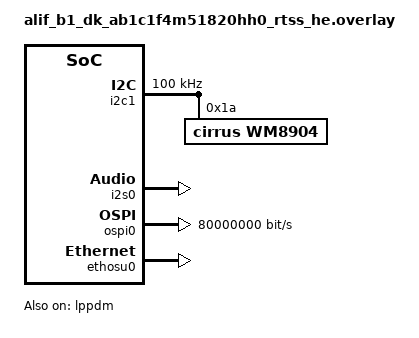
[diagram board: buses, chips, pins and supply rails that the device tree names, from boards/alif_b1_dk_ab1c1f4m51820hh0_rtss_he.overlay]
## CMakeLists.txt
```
# Copyright (C) 2025 Alif Semiconductor - All Rights Reserved.
# Use, distribution and modification of this code is permitted under the
# terms stated in the Alif Semiconductor Software License Agreement
#
# You should have received a copy of the Alif Semiconductor Software
# License Agreement with this file. If not, please write to:
# contact@alifsemi.com, or visit: https://alifsemi.com/license

cmake_minimum_required(VERSION 3.20.0)
find_package(Zephyr REQUIRED HINTS $ENV{ZEPHYR_BASE})
project(le_audio_unicast_sink)

target_sources(app PRIVATE
    src/main.c
    src/unicast_sink.c
    src/audio_datapath.c
    src/storage.c
    src/shell_cmds.c
)
```

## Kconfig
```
# Copyright (C) 2025 Alif Semiconductor - All Rights Reserved.
# Use, distribution and modification of this code is permitted under the
# terms stated in the Alif Semiconductor Software License Agreement
#
# You should have received a copy of the Alif Semiconductor Software
# License Agreement with this file. If not, please write to:
# contact@alifsemi.com, or visit: https://alifsemi.com/license

menu "Alif Bluetooth LE Audio Unicast Sink"

config BLE_DEVICE_NAME
	string "BLE device name"
	default "ALIF_CIS_SINK_L" if UNICAST_LOCATION_LEFT
	default "ALIF_CIS_SINK_R" if UNICAST_LOCATION_RIGHT
	default "ALIF_CIS_SINK" if UNICAST_LOCATION_BOTH
	help
	  Device name to be included in advertising packets

config MAXIMUM_PRESENTATION_DELAY_US
	int "Maximum available presentation delay in microseconds"
	range 40000 100000
	default 40000
	help
	  Maximum presentation delay must be at least 40ms.
	  There is no actual maximum value but 100ms is
	  used to set something which is long enough.
	  See LE Audio specification for more information.

config MINIMUM_PRESENTATION_DELAY_US
	int "Minimum available presentation delay in microseconds"
	range 1000 20000
	default 7500
	help
	  Minimum presentation delay to compensate for
	  the audio processing delay.

config USE_DIRECT_ADVERTISING_WHEN_RESTART
	bool "Use direct advertising when connection is lost or peer is bonded"
	default y

config USE_DIRECTED_FAST_ADVERTISING
	bool "Directed high duty cycle advertising"
	default n
	help
	  Use directed high duty cycle advertising when
	  connection is lost or peer is bonded

config BONDING_ALLOWED
	bool "Allow bonding"
	default y
	
config PRIVACY_ENABLED
	bool "Enable Privacy to use Random Private Resolvable Address"
	default n

choice
	prompt "Choose streaming type"
	default UNICAST_UNIDIR

	config UNICAST_BIDIR
	bool "Bidirectional"
	config UNICAST_UNIDIR
	bool "Unidirectional"
endchoice

choice
	prompt "Choose location"
	default UNICAST_LOCATION_BOTH if UNICAST_UNIDIR
	default UNICAST_LOCATION_LEFT if UNICAST_BIDIR

	config UNICAST_LOCATION_LEFT
	bool "Left"
	config UNICAST_LOCATION_RIGHT
	bool "Right"
	config UNICAST_LOCATION_BOTH
	bool "Both"
endchoice

config VOLUME_CTRL_STEP_SIZE
	int "Volume control step size"
	range 1 255
	default 6
	help
	  Volume control step size

menu "Logging"

module = MAIN
module-str = main
source "subsys/logging/Kconfig.template.log_config"

module = UNICAST_SINK
module-str = unicast_sink
source "subsys/logging/Kconfig.template.log_config"

module = STORAGE
module-str = storage
source "subsys/logging/Kconfig.template.log_config"

endmenu # "Logging"

endmenu # "Alif Bluetooth LE Audio Unicast Sink"

source "Kconfig.zephyr"
```

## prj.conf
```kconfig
# Copyright (C) 2025 Alif Semiconductor - All Rights Reserved.
# Use, distribution and modification of this code is permitted under the
# terms stated in the Alif Semiconductor Software License Agreement
#
# You should have received a copy of the Alif Semiconductor Software
# License Agreement with this file. If not, please write to:
# contact@alifsemi.com, or visit: https://alifsemi.com/license

CONFIG_BT=y
CONFIG_BT_CUSTOM=y
CONFIG_ALIF_ROM_LC3_CODEC=y
CONFIG_ALIF_BLE_AUDIO=y

CONFIG_LOG=y
# CONFIG_LOG_MODE_IMMEDIATE=y
CONFIG_ASSERT=y

CONFIG_PRESENTATION_COMPENSATION_DIRECTION_SINK=y
CONFIG_PRESENTATION_COMPENSATION_CORRECTION_FACTOR=2
CONFIG_MINIMUM_PRESENTATION_DELAY_US=1000

# Should be replaced by TRNG when support is available
CONFIG_ENTROPY_GENERATOR=y
CONFIG_TEST_RANDOM_GENERATOR=y

# malloc support is required, simplest way is using newlib although it would also be possible to
# configure heap for picolibc
CONFIG_NEWLIB_LIBC=y

# Driver support for audio
CONFIG_I2S=y
CONFIG_DMA=y

# Audio driver support specific to B1 DK board.
# Audio codec is WM8904, connected via I2C.
CONFIG_I2C=y
CONFIG_WM8904=y
CONFIG_AUDIO=y
CONFIG_AUDIO_CODEC=y
CONFIG_I2C_INIT_PRIORITY=50
CONFIG_WM8904_INIT_PRIORITY=53

# This is specific to whichever clock you use. Currently presentation layer is
# commented out so this does nothing
CONFIG_AUDIO_CLOCK_DIVIDER=1

# Debug
CONFIG_USE_SEGGER_RTT=y
CONFIG_RTT_CONSOLE=y

CONFIG_MAIN_STACK_SIZE=4096
CONFIG_ISR_STACK_SIZE=4096
CONFIG_PRIVILEGED_STACK_SIZE=2048
CONFIG_IDLE_STACK_SIZE=1024
CONFIG_BOOT_BANNER=n
CONFIG_ALIF_BLE_HOST_ADDL_PRF_HEAPSIZE=10240
CONFIG_ALIF_BLE_HOST_ADDL_ENV_HEAPSIZE=8192

# Enable NVS as the backend for Settings
CONFIG_NVS=y
# Enable the Settings subsystem
CONFIG_SETTINGS=y
CONFIG_SETTINGS_NVS=y
CONFIG_SETTINGS_RUNTIME=y
CONFIG_MPU_ALLOW_FLASH_WRITE=y
CONFIG_FLASH=y
CONFIG_FLASH_MAP=y

# For MRAM(XIP) builds with LLVM exception tables cause linker errors as part of the code is placed to TCM
CONFIG_CPP_EXCEPTIONS=n


CONFIG_SHELL=y
```

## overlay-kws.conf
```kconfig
CONFIG_CPP=y
CONFIG_STD_CPP17=y
CONFIG_TENSORFLOW_LITE_MICRO=y
CONFIG_ARM_ETHOS_U=y
CONFIG_HEAP_MEM_POOL_SIZE=16384
CONFIG_LOG=y
CONFIG_LOG_MODE_IMMEDIATE=y
CONFIG_BUILD_NO_GAP_FILL=y
CONFIG_REQUIRES_FULL_LIBC=y
CONFIG_NEWLIB_LIBC=y
CONFIG_REQUIRES_FULL_LIBCPP=y
CONFIG_NEWLIB_LIBC_MIN_REQUIRED_HEAP_SIZE=8192

CONFIG_CMSIS_DSP=y
CONFIG_CMSIS_DSP_TRANSFORM=y
CONFIG_CMSIS_DSP_FASTMATH=y
CONFIG_CMSIS_DSP_COMPLEXMATH=y

CONFIG_MAIN_STACK_SIZE=4096
CONFIG_MAIN_THREAD_PRIORITY=3

CONFIG_CONSOLE_SUBSYS=y
CONFIG_CONSOLE_GETLINE=y

CONFIG_CBPRINTF_FP_SUPPORT=y

CONFIG_I2S=y

CONFIG_AUDIO=y
CONFIG_AUDIO_DMIC=y
```

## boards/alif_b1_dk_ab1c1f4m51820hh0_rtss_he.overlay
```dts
/* Copyright (C) 2025 Alif Semiconductor - All Rights Reserved.
 * Use, distribution and modification of this code is permitted under the
 * terms stated in the Alif Semiconductor Software License Agreement
 *
 * You should have received a copy of the Alif Semiconductor Software
 * License Agreement with this file. If not, please write to:
 * contact@alifsemi.com, or visit: https://alifsemi.com/license
 *
 */

#include <dt-bindings/pinctrl/balletto-pinctrl.h>
#include <dt-bindings/i2c/i2c.h>
#include <dt-bindings/gpio/gpio.h>

#define I2S0_IRQ_NUM  141
#define I2S0_IRQ_PRIO 3

#define LPI2S_IRQ_NUM  48
#define LPI2S_IRQ_PRIO 3

/ {
	aliases {
		/delete-property/ sw0;

		audio-codec = &wm8904;
		i2s-bus = &i2s0;
		/*i2s-mic = &i2s2;*/
		pdm-audio = &lppdm;
	};

	/delete-node/ buttons;
};

&dma2 {
	status = "okay";
};

&i2c1 {
	clock-frequency = <I2C_BITRATE_STANDARD>;
	status = "okay";

	wm8904: wm8904@1a {
		compatible = "cirrus,wm8904";
		reg = <0x1a>;
		status = "okay";
	};
};

/* Sink (output) to WM8904 codec IC */
&i2s0 {
	/delete-property/ clock-frequency;
	/delete-property/ driver-instance;
	compatible = "alif,i2s-sync";
	interrupts = <I2S0_IRQ_NUM I2S0_IRQ_PRIO>;
	bit-depth = <16>;
	sample-rate = <48000>;
	status = "okay";
};

/* Source (input) use onboard I2S microphones (T5848)
 *
 * Balletto A5 DevKit does not have I2S mics anymore.
 * TODO: Need to be replaced by the PDM mics.
 */

&pinctrl_i2c1 {
	group0 {
		pinmux = <PIN_P7_2__I2C1_SDA_C>,
			 <PIN_P7_3__I2C1_SCL_C>;
	};
};

&pinctrl_i2s0 {
	group0 {
		pinmux = <PIN_P2_4__I2S0_SDI_B>,
			 <PIN_P2_5__I2S0_SDO_B>,
			 <PIN_P1_7__I2S0_WS_A>,
			 <PIN_P1_6__I2S0_SCLK_A>;
	};
};

/* Disable unnecessary nodes */
&uart_ahi {
	status = "disabled";
};

&i2s1 {
	status = "disabled";
};

&lppdm {
	status = "okay";
};

&ospi0 {
	bus-speed = <80000000>;
	status = "okay";
};

/ {
	/* Compile-time assertion: ethosu0 must exist */
	ethosu_u55_check {
		compatible = "vnd,ethosu-u55-check";
		ethosu-node = <&ethosu0>;
	};
};

&ethosu0 {
	status = "okay";
};
```

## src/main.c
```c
/* Copyright (C) 2025 Alif Semiconductor - All Rights Reserved.
 * Use, distribution and modification of this code is permitted under the
 * terms stated in the Alif Semiconductor Software License Agreement
 *
 * You should have received a copy of the Alif Semiconductor Software
 * License Agreement with this file. If not, please write to:
 * contact@alifsemi.com, or visit: https://alifsemi.com/license
 */
#include <stdio.h>
#include <zephyr/kernel.h>
#include <zephyr/logging/log.h>
#include <zephyr/settings/settings.h>
#include <zephyr/sys/__assert.h>

#include <se_service.h>
#include <soc_common.h>

#include "alif_ble.h"
#include "gapm.h"
#include "gapm_le.h"
#include "gapc.h"
#include "gapc_le.h"
#include "gapc_sec.h"

#include "unicast_sink.h"
#include "storage.h"

#define APPEARANCE_EARBUDS 0x0941
#define APPEARANCE_HEADSET 0x0942

#if CONFIG_UNICAST_BIDIR
#define APPEARANCE APPEARANCE_HEADSET
#else
#define APPEARANCE APPEARANCE_EARBUDS
#endif

#if CONFIG_UNICAST_LOCATION_BOTH
#define IRK_VAL 0x8B
#elif CONFIG_UNICAST_LOCATION_LEFT
#define IRK_VAL 0x8A
#elif CONFIG_UNICAST_LOCATION_RIGHT
#define IRK_VAL 0x89
#else
#define IRK_VAL 0x88
#endif

LOG_MODULE_REGISTER(main, CONFIG_MAIN_LOG_LEVEL);

K_SEM_DEFINE(gapm_init_sem, 0, 1);

struct connection_status {
#if CONFIG_USE_DIRECT_ADVERTISING_WHEN_RESTART
	gap_bdaddr_t addr; /*!< Peer device address */
#endif
	uint8_t conidx; /*!< connection index */
};

static struct connection_status app_con_info = {
	.conidx = GAP_INVALID_CONIDX,
#if CONFIG_USE_DIRECT_ADVERTISING_WHEN_RESTART
	.addr.addr_type = 0xff,
#endif
};

#if CONFIG_USE_DIRECT_ADVERTISING_WHEN_RESTART
#define APP_CON_ADDR &app_con_info.addr
#else
#define APP_CON_ADDR NULL
#endif

struct app_con_bond_data {
	gapc_pairing_keys_t keys;
	gapc_bond_data_t bond_data;
};

static struct app_con_bond_data app_con_bond_data;

/* Load names from configuration file */
const char device_name[] = CONFIG_BLE_DEVICE_NAME;

static const gap_sec_key_t gapm_irk = {.key = {0xA1, 0xB2, 0xC3, 0xD4, 0xE5, 0xF6, 0x07, 0x08, 0x11,
					       0x22, 0x33, 0x44, 0x55, 0x66, 0x77, IRK_VAL}};

/* ---------------------------------------------------------------------------------------- */
/* Settings NVM storage handlers */

static int storage_load_bond_data(void)
{
	if (storage_init() < 0) {
		return -1;
	}

	storage_load(SETTINGS_NAME_KEYS, &app_con_bond_data.keys, sizeof(app_con_bond_data.keys));
	storage_load(SETTINGS_NAME_BOND_DATA, &app_con_bond_data.bond_data,
		     sizeof(app_con_bond_data.bond_data));
#if CONFIG_USE_DIRECT_ADVERTISING_WHEN_RESTART
	storage_load(SETTINGS_NAME_PEER, &app_con_info.addr, sizeof(app_con_info.addr));
#endif

	LOG_DBG("Settings loaded successfully");
	return 0;
}

/* ---------------------------------------------------------------------------------------- */
/* Bluetooth GAPM callbacks */

static void on_get_peer_version_cmp_cb(uint8_t const conidx, uint32_t const metainfo,
				       uint16_t const status, const gapc_version_t *const p_version)
{
	if (status != GAP_ERR_NO_ERROR) {
		LOG_ERR("Client %u Peer version fetch failed! err:%u", conidx, status);
		return;
	}
	LOG_INF("Client %u company_id:%u, lmp_subversion:%u, lmp_version:%u", conidx,
		p_version->company_id, p_version->lmp_subversion, p_version->lmp_version);
}

static void on_peer_features_cmp_cb(uint8_t const conidx, uint32_t const metainfo, uint16_t status,
				    const uint8_t *const p_features)
{
	if (status == GAP_ERR_NO_ERROR) {
		LOG_INF("Client %u features: %02X:%02X:%02X:%02X:%02X:%02X:%02X:%02X", conidx,
			p_features[0], p_features[1], p_features[2], p_features[3], p_features[4],
			p_features[5], p_features[6], p_features[7]);
	} else {
		LOG_ERR("Client %u get peer features failed! status:%u", conidx, status);
	}

	status = gapc_get_peer_version(conidx, 0, on_get_peer_version_cmp_cb);
	if (status != GAP_ERR_NO_ERROR) {
		LOG_ERR("Client %u unable to get peer version! err:%u", conidx, status);
	}
}

static void connection_confirm_not_bonded(uint_fast8_t const conidx,
					  gapc_bond_data_t const *const p_bond_data)
{
	uint_fast16_t status;

	status = gapc_le_connection_cfm(conidx, 0, p_bond_data);
	if (status != GAP_ERR_NO_ERROR) {
		LOG_ERR("Client %u connection confirmation failed! err:%u", conidx, status);
	}
	status = gapc_le_get_peer_features(conidx, 0, on_peer_features_cmp_cb);
	if (status != GAP_ERR_NO_ERROR) {
		LOG_ERR("Client %u Unable to get peer features! err:%u", conidx, status);
	}
}

static void on_address_resolved_cb(uint16_t status, const gap_addr_t *const p_addr,
				   const gap_sec_key_t *const pirk)
{
	uint_fast8_t const conidx = app_con_info.conidx;
	/* Check whether the peer device is bonded */
	bool const resolved = (status == GAP_ERR_NO_ERROR);

	LOG_INF("Client %u address resolve ready! status:%u, %s peer device", conidx, status,
		resolved ? "KNOWN" : "UNKNOWN");

#if CONFIG_USE_DIRECT_ADVERTISING_WHEN_RESTART
	app_con_info.addr.addr_type = GAP_ADDR_RAND;
	memcpy(app_con_info.addr.addr, p_addr->addr, sizeof(app_con_info.addr.addr));
#endif

	if (resolved) {
		gapc_le_connection_cfm(conidx, 0, &app_con_bond_data.bond_data);
		return;
	}
	connection_confirm_not_bonded(conidx, NULL);
}

static void on_le_connection_req(uint8_t const conidx, uint32_t const metainfo,
				 uint8_t const actv_idx, uint8_t const role,
				 const gap_bdaddr_t *const p_peer_addr,
				 const gapc_le_con_param_t *const p_con_params,
				 uint8_t const clk_accuracy)
{
	uint16_t err;
	bool const public = (p_peer_addr->addr_type == GAP_ADDR_PUBLIC);

	app_con_info.conidx = conidx;
#if CONFIG_USE_DIRECT_ADVERTISING_WHEN_RESTART
	memcpy(&app_con_info.addr, p_peer_addr, sizeof(app_con_info.addr));
#endif

	if (!public) {
		/* Number of IRKs */
		uint8_t const nb_irk = 1;
		/* Resolve Address */
		uint16_t const status = gapm_le_resolve_address(
			(gap_addr_t *)p_peer_addr->addr, nb_irk, &app_con_bond_data.keys.irk.key,
			on_address_resolved_cb);

		if (status == GAP_ERR_INVALID_PARAM) {
			/* Address not resolvable, just confirm the connection */
			connection_confirm_not_bonded(conidx, NULL);
		} else if (status != GAP_ERR_NO_ERROR) {
			LOG_ERR("Client %u Unable to start resolve address! err:%u", conidx,
				status);
		}
	} else {
		gapc_le_connection_cfm(conidx, 0, &app_con_bond_data.bond_data);
	}

	LOG_INF("Connection request. conidx:%u (actv_idx:%u), role %s", conidx, actv_idx,
		role ? "PERIPH" : "CENTRAL");

	LOG_DBG("  interval %fms, latency %u, supervision timeout %ums, clk_accuracy:%u",
		(p_con_params->interval * 1.25), p_con_params->latency,
		(uint32_t)p_con_params->sup_to * 10, clk_accuracy);

	LOG_DBG("  Peer address: %s %02X:%02X:%02X:%02X:%02X:%02X", public ? "Public" : "Private",
		p_peer_addr->addr[5], p_peer_addr->addr[4], p_peer_addr->addr[3],
		p_peer_addr->addr[2], p_peer_addr->addr[1], p_peer_addr->addr[0]);
}

static const struct gapc_connection_req_cb gapc_con_cbs = {
	.le_connection_req = on_le_connection_req,
};

static void on_gapc_le_encrypt_req(uint8_t const conidx, uint32_t const metainfo,
				   uint16_t const ediv, const gap_le_random_nb_t *const p_rand)
{
	uint16_t const status = gapc_le_encrypt_req_reply(
		conidx, true, &app_con_bond_data.keys.ltk.key, app_con_bond_data.keys.ltk.key_size);

	if (status != GAP_ERR_NO_ERROR) {
		LOG_ERR("Client %u LE encryption reply failed! err:%u", conidx, status);
		return;
	}
}

static void on_gapc_sec_auth_info(uint8_t const conidx, uint32_t const metainfo,
				  uint8_t const sec_lvl, bool const encrypted,
				  uint8_t const key_size)
{
	LOG_INF("Client %u Link security info. level:%u, encrypted:%s, key_size:%u", conidx,
		sec_lvl, (encrypted ? "TRUE" : "FALSE"), key_size);
}

static void on_gapc_pairing_succeed(uint8_t const conidx, uint32_t const metainfo,
				    uint8_t const pairing_level, bool const enc_key_present,
				    uint8_t const key_type)
{
	bool const bonded = gapc_is_bonded(conidx);

	LOG_INF("Client %u pairing SUCCEED. pairing_level:%u, bonded:%s", conidx, pairing_level,
		bonded ? "TRUE" : "FALSE");

	app_con_bond_data.bond_data.pairing_lvl = pairing_level;
	app_con_bond_data.bond_data.enc_key_present = enc_key_present;

	storage_save(SETTINGS_NAME_BOND_DATA, &app_con_bond_data.bond_data,
		     sizeof(app_con_bond_data.bond_data));
#if CONFIG_USE_DIRECT_ADVERTISING_WHEN_RESTART
	storage_save(SETTINGS_NAME_PEER, &app_con_info.addr, sizeof(app_con_info.addr));
#endif
	//uint16_t err = acc_mcc_discover(conidx, 1, GATT_INVALID_HDL, GATT_INVALID_HDL);
	//LOG_INF("acc_mcc_discover returned %d", err);
}

static void on_gapc_pairing_failed(uint8_t const conidx, uint32_t const metainfo,
				   uint16_t const reason)
{
	LOG_ERR("Client %u pairing failed, reason: 0x%04X", conidx, reason);
	app_con_info.conidx = GAP_INVALID_CONIDX;
}

static void on_gapc_info_req(uint8_t const conidx, uint32_t const metainfo, uint8_t const exp_info)
{
	uint16_t err;

	switch (exp_info) {
	case GAPC_INFO_IRK: {
		/* IRK exchange if bonding enabled */
		err = gapc_le_pairing_provide_irk(conidx, &gapm_irk);
		if (err) {
			LOG_ERR("Client %u IRK provide failed. err: %u", conidx, err);
			break;
		}
		LOG_INF("Client %u IRK sent successful", conidx);
		break;
	}
	case GAPC_INFO_CSRK: {
		/* CSRK exchange if bonding enabled */
		err = gapc_pairing_provide_csrk(conidx, &app_con_bond_data.bond_data.local_csrk);
		if (err) {
			LOG_ERR("Client %u CSRK provide failed. err: %u", conidx, err);
			break;
		}
		LOG_INF("Client %u CSRK sent successful", conidx);
		break;
	}
	case GAPC_INFO_BT_PASSKEY:
	case GAPC_INFO_PASSKEY_DISPLAYED: {
		err = gapc_pairing_provide_passkey(conidx, true, 123456);
		if (err) {
			LOG_ERR("Client %u PASSKEY provide failed. err: %u", conidx, err);
			break;
		}
		LOG_INF("Client %u PASSKEY 123456 provided", conidx);
		break;
	}
	default:
		LOG_WRN("Client %u Unsupported info %u requested!", conidx, exp_info);
		break;
	}
}

static void on_gapc_pairing_req(uint8_t const conidx, uint32_t const metainfo,
				uint8_t const auth_level)
{
	LOG_DBG("Client %u pairing requested. auth_level:%u", conidx, auth_level);

	gapc_pairing_t pairing_info = {
		.auth = GAP_AUTH_NONE,
		.iocap = GAP_IO_CAP_DISPLAY_ONLY,
		.ikey_dist = GAP_KDIST_ENCKEY | GAP_KDIST_IDKEY,
		.key_size = GAP_KEY_LEN,
		.oob = GAP_OOB_AUTH_DATA_NOT_PRESENT,
		.rkey_dist = GAP_KDIST_ENCKEY | GAP_KDIST_IDKEY,
	};

	if (auth_level & GAP_AUTH_SEC_CON) {
		pairing_info.auth = GAP_AUTH_NONE;
	}

	uint16_t const status = gapc_le_pairing_accept(conidx, true, &pairing_info, 0);

	if (status != GAP_ERR_NO_ERROR) {
		LOG_ERR("Pairing accept failed! error: %u", status);
	}
}

static void on_gapc_sec_numeric_compare_req(uint8_t const conidx, uint32_t const metainfo,
					    uint32_t const value)
{
	LOG_DBG("Client %u pairing - numeric compare. value:%u", conidx, value);
	gapc_pairing_numeric_compare_rsp(conidx, true);
}

static void on_key_received(uint8_t conidx, uint32_t metainfo, const gapc_pairing_keys_t *p_keys)
{
	LOG_DBG("Client %u keys received: key_bf:%u, level:%u", conidx, p_keys->valid_key_bf,
		p_keys->pairing_lvl);

	gapc_pairing_keys_t *const p_appkeys = &app_con_bond_data.keys;
	uint8_t key_bits = GAP_KDIST_NONE;

	if (p_keys->valid_key_bf & GAP_KDIST_ENCKEY) {
		memcpy(&p_appkeys->ltk, &p_keys->ltk, sizeof(p_appkeys->ltk));
		key_bits |= GAP_KDIST_ENCKEY;
	}

	if (p_keys->valid_key_bf & GAP_KDIST_IDKEY) {
		memcpy(&p_appkeys->irk, &p_keys->irk, sizeof(p_appkeys->irk));
		key_bits |= GAP_KDIST_IDKEY;
	}

	if (p_keys->valid_key_bf & GAP_KDIST_SIGNKEY) {
		memcpy(&p_appkeys->csrk, &p_keys->csrk, sizeof(p_appkeys->csrk));
		key_bits |= GAP_KDIST_SIGNKEY;
	}

	p_appkeys->pairing_lvl = p_keys->pairing_lvl;
	p_appkeys->valid_key_bf = key_bits;

	storage_save(SETTINGS_NAME_KEYS, &app_con_bond_data.keys, sizeof(app_con_bond_data.keys));
}

static const gapc_security_cb_t gapc_sec_cbs = {
	.le_encrypt_req = on_gapc_le_encrypt_req,
	.auth_info = on_gapc_sec_auth_info,
	.pairing_succeed = on_gapc_pairing_succeed,
	.pairing_failed = on_gapc_pairing_failed,
	.info_req = on_gapc_info_req,
	.pairing_req = on_gapc_pairing_req,
	.numeric_compare_req = on_gapc_sec_numeric_compare_req,
	.key_received = on_key_received,
	/* Others are useless for LE peripheral device */
};

static void on_disconnection(uint8_t const conidx, uint32_t const metainfo, uint16_t const reason)
{
	LOG_INF("Client %u disconnected for reason %u", conidx, reason);

	app_con_info.conidx = GAP_INVALID_CONIDX;
	/* Restart advertising... */
	unicast_sink_adv_start(APP_CON_ADDR);
}

static void on_bond_data_updated(uint8_t const conidx, uint32_t const metainfo,
				 const gapc_bond_data_updated_t *const p_data)
{
	LOG_INF("Client %u bond data updated: gatt_start_hdl:%u, gatt_end_hdl:%u, "
		"svc_chg_hdl:%u, cli_info:%u, cli_feat:%u, srv_feat:%u",
		conidx, p_data->gatt_start_hdl, p_data->gatt_end_hdl, p_data->svc_chg_hdl,
		p_data->cli_info, p_data->cli_feat, p_data->srv_feat);	
}

static void on_name_get(uint8_t const conidx, uint32_t const metainfo, uint16_t const token,
			uint16_t const offset, uint16_t const max_len)
{
	const size_t device_name_len = sizeof(device_name) - 1;
	const size_t short_len = (device_name_len > max_len ? max_len : device_name_len);

	gapc_le_get_name_cfm(conidx, token, GAP_ERR_NO_ERROR, device_name_len, short_len,
			     (const uint8_t *)device_name);
}

static void on_appearance_get(uint8_t const conidx, uint32_t const metainfo, uint16_t const token)
{
	gapc_le_get_appearance_cfm(conidx, token, GAP_ERR_NO_ERROR, APPEARANCE);
}

static const gapc_connection_info_cb_t gapc_inf_cbs = {
	.disconnected = on_disconnection,
	.bond_data_updated = on_bond_data_updated,
	.name_get = on_name_get,
	.appearance_get = on_appearance_get,
	/* Other callbacks in this struct are optional */
};

static const gapc_le_config_cb_t gapc_le_cfg_cbs = {0};

static void on_gapm_err(uint32_t metainfo, uint8_t code)
{
	LOG_ERR("GAPM error %d", code);
}

static const gapm_cb_t gapm_err_cbs = {
	.cb_hw_error = on_gapm_err,
};

static const gapm_callbacks_t gapm_cbs = {
	.p_con_req_cbs = &gapc_con_cbs,
	.p_sec_cbs = &gapc_sec_cbs,
	.p_info_cbs = &gapc_inf_cbs,
	.p_le_config_cbs = &gapc_le_cfg_cbs,
	.p_bt_config_cbs = NULL,    /* BT classic so not required */
	.p_gapm_cbs = &gapm_err_cbs,
};

/* ---------------------------------------------------------------------------------------- */
/* BLE config (GAPM) */

static void on_gapm_process_complete(uint32_t const metainfo, uint16_t const status)
{
	if (status != GAP_ERR_NO_ERROR) {
		LOG_ERR("GAPM process completed with error %u", status);
		return;
	}

	switch (metainfo) {
	case 1:
		LOG_DBG("GAPM configured successfully");
		break;
	case 2:
		LOG_DBG("GAPM name set successfully");
		break;
	case 3:
		LOG_DBG("GAPM reset successfully");
		break;
	default:
		LOG_ERR("GAPM Unknown metadata!");
		return;
	}

	k_sem_give(&gapm_init_sem);
}

static gap_addr_t private_address;

static void on_gapm_le_random_addr_cb(uint16_t const status, const gap_addr_t *const p_addr)
{
	if (status != GAP_ERR_NO_ERROR) {
		LOG_ERR("GAPM address generation error %u", status);
		return;
	}

	LOG_DBG("Generated address: %02X:%02X:%02X:%02X:%02X:%02X", p_addr->addr[5],
		p_addr->addr[4], p_addr->addr[3], p_addr->addr[2], p_addr->addr[1],
		p_addr->addr[0]);

	private_address = *p_addr;

	storage_save(SETTINGS_NAME_ADDR, &private_address, sizeof(private_address));

	k_sem_give(&gapm_init_sem);
}

static int ble_stack_configure(uint8_t const role)
{
	/* Bluetooth stack configuration*/
	gapm_config_t gapm_cfg = {
		.role = role,
		.pairing_mode = GAPM_PAIRING_SEC_CON,
		.privacy_cfg = 0,
		.renew_dur = 15 * 60, /* 15 minutes */
		.private_identity.addr = {0},
		.irk = gapm_irk,
		.gap_start_hdl = 0,
		.gatt_start_hdl = 0,
		.att_cfg = 0,
		.sugg_max_tx_octets = GAP_LE_MAX_OCTETS,
		/* Use the minimum transmission time to minimize latency */
		.sugg_max_tx_time = GAP_LE_MIN_TIME,
		.tx_pref_phy = GAP_PHY_LE_2MBPS,
		.rx_pref_phy = GAP_PHY_LE_2MBPS,
		.tx_path_comp = 0,
		.rx_path_comp = 0,
		/* BT classic - not used */
		.class_of_device = 0x200408,
		.dflt_link_policy = 0,
	};

	int err;

	storage_load(SETTINGS_NAME_ADDR, &private_address, sizeof(private_address));

	if (private_address.addr[5] == 0) {
		/* Configure GAPM to prepare address generation */
		err = gapm_configure(1, &gapm_cfg, &gapm_cbs, on_gapm_process_complete);
		if (err != GAP_ERR_NO_ERROR) {
			LOG_ERR("gapm_configure error %u", err);
			return -1;
		}
		if (k_sem_take(&gapm_init_sem, K_MSEC(1000)) != 0) {
			LOG_ERR("  FAIL! GAPM config timeout!");
			return -1;
		}

		/* Generate random static address */
		err = gapm_le_generate_random_addr(GAP_BD_ADDR_STATIC, on_gapm_le_random_addr_cb);
		if (err != GAP_ERR_NO_ERROR) {
			LOG_ERR("gapm_le_generate_random_addr error %u", err);
			return -1;
		}
		if (k_sem_take(&gapm_init_sem, K_MSEC(1000)) != 0) {
			LOG_ERR("  FAIL! GAPM random address timeout!");
			return -1;
		}

		/* Reset GAPM to set address */
		err = gapm_reset(3, on_gapm_process_complete);
		if (err != GAP_ERR_NO_ERROR) {
			LOG_ERR("gapm_reset error %u", err);
			return -1;
		}
		if (k_sem_take(&gapm_init_sem, K_MSEC(1000)) != 0) {
			LOG_ERR("  FAIL! GAPM reset timeout!");
			return -1;
		}
	}

	/* Reconfigure GAPM with generated address */
	gapm_cfg.privacy_cfg = GAPM_PRIV_CFG_PRIV_ADDR_BIT;
#if CONFIG_PRIVACY_ENABLED
	gapm_cfg.privacy_cfg |= GAPM_PRIV_CFG_PRIV_EN_BIT;
#endif
	gapm_cfg.private_identity = private_address;

	err = gapm_configure(1, &gapm_cfg, &gapm_cbs, on_gapm_process_complete);
	if (err != GAP_ERR_NO_ERROR) {
		LOG_ERR("gapm_configure error %u", err);
		return -1;
	}
	if (k_sem_take(&gapm_init_sem, K_MSEC(1000)) != 0) {
		LOG_ERR("  FAIL! GAPM config timeout!");
		return -1;
	}

	LOG_INF("Set name: %s", device_name);
	err = gapm_set_name(2, strlen(device_name), (const uint8_t *)device_name,
			    on_gapm_process_complete);
	if (err != GAP_ERR_NO_ERROR) {
		LOG_ERR("gapm_set_name error %u", err);
		return -1;
	}
	if (k_sem_take(&gapm_init_sem, K_MSEC(1000)) != 0) {
		LOG_ERR("  FAIL! GAPM name set timeout!");
		return -1;
	}

#if CONFIG_BONDING_ALLOWED
	/* Configure security level */
	gapm_le_configure_security_level(GAP_AUTH_NONE);
	LOG_INF("Security enabled for bonding");
#endif

	gapm_le_set_appearance(APPEARANCE);

	gap_bdaddr_t identity;

	gapm_get_identity(&identity);

	if (identity.addr_type == GAP_ADDR_PUBLIC) {
		LOG_DBG("Device address type: Public");
	} else {
		uint32_t const type = identity.addr[5] >> 6;

		switch (type) {
		case 0b00:
			LOG_DBG("Device address type: Random Private Non-Resolvable Address");
			break;
		case 0b01:
			LOG_DBG("Device address type: Random Private Resolvable Address");
			break;
		case 0b11:
			LOG_DBG("Device address type: Random Static Address format");
			break;
		case 0b10:
		default:
			LOG_WRN("Device address type: unknown");
			break;
		}
	}
	LOG_INF("Device address: %02X:%02X:%02X:%02X:%02X:%02X", identity.addr[5], identity.addr[4],
		identity.addr[3], identity.addr[2], identity.addr[1], identity.addr[0]);

	LOG_DBG("BLE init complete!");

	return 0;
}

/* ---------------------------------------------------------------------------------------- */
/* Application entry point */

int main(void)
{
	LOG_INF("Alif Unicast Acceptor app started");

	if (storage_load_bond_data() < 0) {
		return -1;
	}

	int ret = alif_ble_enable(NULL);

	if (ret) {
		LOG_ERR("Failed to enable bluetooth, err %d", ret);
		return ret;
	}

	LOG_DBG("BLE enabled");

	if (0 != ble_stack_configure(GAP_ROLE_LE_PERIPHERAL)) {
		return -1;
	}

	if (0 != unicast_sink_init()) {
		return -1;
	}

	if (0 != unicast_sink_adv_start(APP_CON_ADDR)) {
		return -1;
	}

	while (1) {
		/* Nothing to do here... just sleep to keep app running */
		k_sleep(K_SECONDS(5));
	}

	return 0;
}


static int soc_run_profile(void)
{
#define HOST_SYSTOP_PWR_REQ_LOGIC_ON_MEM_ON 0x20

	const uint32_t host_bsys_pwr_req = sys_read32(HOST_BSYS_PWR_REQ);

	sys_write32(host_bsys_pwr_req | HOST_SYSTOP_PWR_REQ_LOGIC_ON_MEM_ON, HOST_BSYS_PWR_REQ);

	run_profile_t runp = {
		.power_domains = PD_VBAT_AON_MASK | PD_SYST_MASK | PD_SSE700_AON_MASK |
				 PD_DBSS_MASK | PD_SESS_MASK,
		.dcdc_voltage = 825,
		.dcdc_mode = DCDC_MODE_PFM_FORCED,
		.aon_clk_src = CLK_SRC_LFXO,
		.run_clk_src = CLK_SRC_PLL,
		.cpu_clk_freq = CLOCK_FREQUENCY_160MHZ,
		.phy_pwr_gating = LDO_PHY_MASK,
		.ip_clock_gating = LP_PERIPH_MASK,
		.vdd_ioflex_3V3 = IOFLEX_LEVEL_1V8,
		.scaled_clk_freq = SCALED_FREQ_XO_HIGH_DIV_38_4_MHZ,
		.memory_blocks = (MRAM_MASK | (SRAM2_MASK | SRAM3_MASK) |
				  (SERAM_1_MASK | SERAM_2_MASK | SERAM_3_MASK | SERAM_4_MASK) |
				  /* M55-HE ITCM */
				  (SRAM4_1_MASK | SRAM4_2_MASK | SRAM4_3_MASK | SRAM4_4_MASK) |
				  /* M55-HE DTCM */
				  (SRAM5_1_MASK | SRAM5_2_MASK | SRAM5_3_MASK | SRAM5_4_MASK |
				   SRAM5_5_MASK)),
	};

	if (se_service_set_run_cfg(&runp)) {
		LOG_ERR("run profile set failed!");
		return -ENOEXEC;
	}

	sys_write32(host_bsys_pwr_req, HOST_BSYS_PWR_REQ);
	sys_write32(0xFFFFFFFF, 0x1A60900C);

	return 0;
}
SYS_INIT(soc_run_profile, PRE_KERNEL_1, 3);
```

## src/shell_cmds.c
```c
/** @file
 * @brief Bluetooth Audio shell module
 *
 * Provide some Bluetooth Audio shell commands that can be useful to applications.
 *
 * Copyright (c) 2017 Intel Corporation
 * Copyright (c) 2018 Nordic Semiconductor ASA
 * Copyright (c) Alif Semiconductor
 *
 * Alif Semiconductor version uses the Zephyr's bt shell module as a base
 * but adapts it to the Ceva-Waves' BLE stack.
 *
 * SPDX-License-Identifier: Apache-2.0
 */

#include <zephyr/sys/util.h>
#include <zephyr/sys/printk.h>
#include <zephyr/shell/shell.h>
#include <zephyr/shell/shell_uart.h>
#include <stdlib.h>
#include <string.h>
#include <errno.h>
#include <zephyr/logging/log.h>
#include "unicast_sink.h"

//LOG_MODULE_REGISTER(bt_audio_shell, CONFIG_BT_AUDIO_SHELL_LOG_LEVEL);

static int cmd_vol_up(const struct shell *sh, size_t argc, char *argv[])
{
	int err;

	volume_increase(); 
		
    shell_fprintf(sh, SHELL_NORMAL, "Volume up\n");
	return 0;
}

static int cmd_vol_down(const struct shell *sh, size_t argc, char *argv[])
{
	int err;

	volume_decrease(); 
	
    shell_fprintf(sh, SHELL_NORMAL, "Volume down\n");	
	return 0;
}

static int cmd_track_next(const struct shell *sh, size_t argc, char *argv[])
{
	int err;

	next_track();
		
    shell_fprintf(sh, SHELL_NORMAL, "Next track\n");
	return 0;
}

static int cmd_track_prev(const struct shell *sh, size_t argc, char *argv[])
{
	int err;

	prev_track();
	
	shell_fprintf(sh, SHELL_NORMAL, "Prev track\n");
	return 0;
}

static int cmd_start(const struct shell *sh, size_t argc, char *argv[])
{
	int err;

	// TODO
	
	shell_fprintf(sh, SHELL_NORMAL, "Start\n");
	return 0;
}

static int cmd_stop(const struct shell *sh, size_t argc, char *argv[])
{
	int err;

	// TODO
	
    shell_fprintf(sh, SHELL_NORMAL, "Stop\n");
	return 0;
}

static int cmd_default_handler(const struct shell *sh, size_t argc, char **argv)
{
	if (argc == 1) {
		shell_help(sh);
		return SHELL_CMD_HELP_PRINTED;
	}

    shell_fprintf(sh, SHELL_ERROR, "%s unknown parameter: %s", argv[0], argv[1]);
	
	return -EINVAL;
}

#define HELP_NONE "[none]"

SHELL_STATIC_SUBCMD_SET_CREATE(
	bt_audio_cmds, 
	SHELL_CMD_ARG(vol-up, NULL, HELP_NONE, cmd_vol_up, 0, 0),
	SHELL_CMD_ARG(vol-down, NULL, HELP_NONE, cmd_vol_down, 0, 0),
	SHELL_CMD_ARG(track-next, NULL, HELP_NONE, cmd_track_next, 0, 0),
	SHELL_CMD_ARG(track-prev, NULL, HELP_NONE, cmd_track_prev, 0, 0),
	SHELL_CMD_ARG(start, NULL, HELP_NONE, cmd_start, 0, 0),
	SHELL_CMD_ARG(stop, NULL, HELP_NONE, cmd_stop, 0, 0),
	SHELL_SUBCMD_SET_END);

SHELL_CMD_REGISTER(bt_audio, &bt_audio_cmds, "Bluetooth audio shell commands", cmd_default_handler);
```

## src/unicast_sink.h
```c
/* Copyright (C) 2025 Alif Semiconductor - All Rights Reserved.
 * Use, distribution and modification of this code is permitted under the
 * terms stated in the Alif Semiconductor Software License Agreement
 *
 * You should have received a copy of the Alif Semiconductor Software
 * License Agreement with this file. If not, please write to:
 * contact@alifsemi.com, or visit: https://alifsemi.com/license
 */

#ifndef _UNICAST_SINK_H
#define _UNICAST_SINK_H

/**
 * @brief Configure LE audio unicast sink functionality
 *
 * @return 0 on success
 */
int unicast_sink_init(void);

/**
 * @brief Start the LE audio unicast advertising
 *
 * @param p_address Pointer to the client device address for directed advertising
 *
 * @return 0 on success
 */
int unicast_sink_adv_start(void const * const p_address);

/**
 * @brief Stop the advertising
 *
 * @return 0 on success
 */
int unicast_sink_adv_stop(void);

/**
 * @brief Increase the volume
 *
 */
void volume_increase(void);

/**
 * @brief Decrease the volume
 *
 */
void volume_decrease(void);


/**
 * @brief Next track
 *
 */
void next_track(void);

/**
 * @brief Previous track
 *
 */
void prev_track(void);

#endif /* _UNICAST_SINK_H */
```
